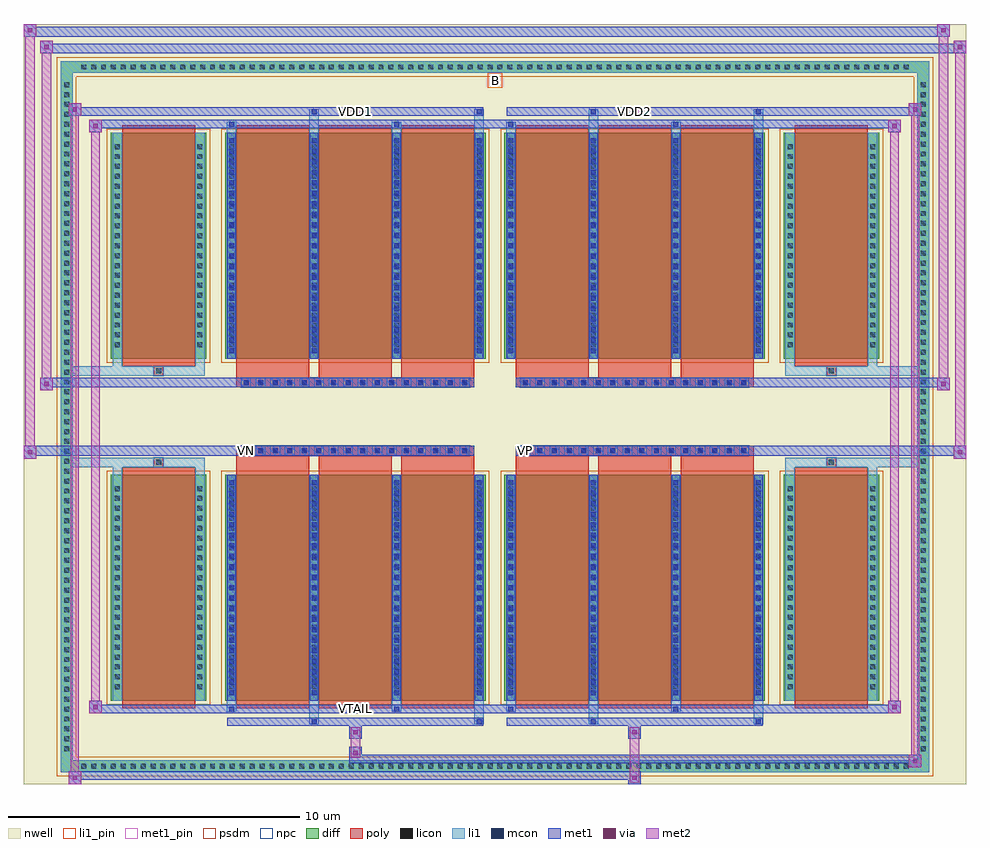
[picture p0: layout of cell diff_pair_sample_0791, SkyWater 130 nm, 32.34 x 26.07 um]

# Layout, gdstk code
import gdstk
lib = gdstk.Library(unit=1e-6, precision=5e-09)
def R(c, l, rs):  # rectangles x0, y0, x1, y1
    for r in rs: c.add(gdstk.rectangle(r[:2], r[2:], *l))
def A(c, l, x, y, w, h, nx, ny, dx, dy):  # array of equal rectangles
    R(c, l, [(x+i*dx, y+j*dy, x+i*dx+w, y+j*dy+h) for i in range(nx) for j in range(ny)])
def P(c, l, *ps):  # polygons
    for p in ps: c.add(gdstk.Polygon(p, *l))
nwell = (64, 20)
diff = (65, 20)
poly = (66, 20)
licon = (66, 44)
li1_pin = (67, 16)
li1 = (67, 20)
mcon = (67, 44)
met1_pin = (68, 16)
met1 = (68, 20)
via = (68, 44)
met2 = (69, 20)
psdm = (94, 20)
npc = (95, 20)

diff_pair_sample_0791 = lib.new_cell('diff_pair_sample_0791')
R(diff_pair_sample_0791, nwell, [(-16.17,-12.6,16.17,13.47), (-13.49,-10.79,-0.01,-0.805), (0.01,-10.79,13.49,-0.805), (-13.49,0.805,-0.01,10.79), (0.01,0.805,13.49,10.79)])
A(diff_pair_sample_0791, diff, -14.315, -12.2, 0.41, 0.41, 84, 2, 0.34, 23.99)
A(diff_pair_sample_0791, diff, -14.9, -11.595, 0.41, 0.41, 1, 68, 0, 0.34)
A(diff_pair_sample_0791, diff, 14.49, -11.595, 0.41, 0.41, 1, 68, 0, 0.34)
R(diff_pair_sample_0791, diff, [(-14.315,-12.2,14.315,-11.79), (-14.9,-11.595,-14.49,11.595), (14.49,-11.595,14.9,11.595), (-13.18,-9.745,-9.9,-1.985), (-9.26,-9.745,-0.32,-1.985), (0.32,-9.745,9.26,-1.985), (9.9,-9.745,13.18,-1.985), (-13.18,1.985,-9.9,9.745), (-9.26,1.985,-0.32,9.745), (0.32,1.985,9.26,9.745), (9.9,1.985,13.18,9.745), (-14.315,11.79,14.315,12.2)])
P(diff_pair_sample_0791, diff, [(14.9,12.2),(-14.9,12.2),(-14.9,-11.79),(-14.49,-11.79),(-14.49,11.79),(14.49,11.79),(14.49,-11.79),(-14.49,-11.79),(-14.9,-11.79),(-14.9,-12.2),(14.9,-12.2)])
A(diff_pair_sample_0791, poly, -8.87, -9.995, 2.5, 8.26, 3, 2, 2.83, 11.73)
A(diff_pair_sample_0791, poly, 0.71, -9.995, 2.5, 8.26, 3, 2, 2.83, 11.73)
A(diff_pair_sample_0791, poly, -8.87, -1.735, 2.5, 0.4, 3, 2, 2.83, 3.07)
A(diff_pair_sample_0791, poly, 0.71, -1.735, 2.5, 0.4, 3, 2, 2.83, 3.07)
A(diff_pair_sample_0791, poly, -8.705, -1.335, 0.33, 0.33, 16, 2, 0.5, 2.34)
A(diff_pair_sample_0791, poly, 0.875, -1.335, 0.33, 0.33, 16, 2, 0.5, 2.34)
R(diff_pair_sample_0791, poly, [(-12.79,-9.995,-10.29,-1.735), (10.29,-9.995,12.79,-1.735), (-11.705,-1.735,-11.375,-1.405), (-11.705,-1.735,-11.375,-1.405), (11.375,-1.735,11.705,-1.405), (11.375,-1.735,11.705,-1.405), (-8.87,-1.335,-0.71,-1.005), (0.71,-1.335,8.87,-1.005), (-8.87,1.005,-0.71,1.335), (0.71,1.005,8.87,1.335), (-11.705,1.405,-11.375,1.735), (-11.705,1.405,-11.375,1.735), (11.375,1.405,11.705,1.735), (11.375,1.405,11.705,1.735), (-12.79,1.735,-10.29,9.995), (10.29,1.735,12.79,9.995)])
A(diff_pair_sample_0791, licon, -14.195, -12.08, 0.17, 0.17, 84, 2, 0.34, 23.99)
A(diff_pair_sample_0791, licon, -14.78, -11.475, 0.17, 0.17, 1, 68, 0, 0.34)
A(diff_pair_sample_0791, licon, 14.61, -11.475, 0.17, 0.17, 1, 68, 0, 0.34)
A(diff_pair_sample_0791, licon, -13.04, -9.35, 0.17, 0.17, 1, 21, 0, 0.34)
A(diff_pair_sample_0791, licon, -10.21, -9.35, 0.17, 0.17, 1, 21, 0, 0.34)
A(diff_pair_sample_0791, licon, -9.12, -9.35, 0.17, 0.17, 4, 21, 2.83, 0.34)
A(diff_pair_sample_0791, licon, 0.46, -9.35, 0.17, 0.17, 4, 21, 2.83, 0.34)
A(diff_pair_sample_0791, licon, 10.04, -9.35, 0.17, 0.17, 1, 21, 0, 0.34)
A(diff_pair_sample_0791, licon, 12.87, -9.35, 0.17, 0.17, 1, 21, 0, 0.34)
A(diff_pair_sample_0791, licon, -8.625, -1.255, 0.17, 0.17, 16, 2, 0.5, 2.34)
A(diff_pair_sample_0791, licon, 0.955, -1.255, 0.17, 0.17, 16, 2, 0.5, 2.34)
A(diff_pair_sample_0791, licon, -13.04, 2.38, 0.17, 0.17, 1, 21, 0, 0.34)
A(diff_pair_sample_0791, licon, -10.21, 2.38, 0.17, 0.17, 1, 21, 0, 0.34)
A(diff_pair_sample_0791, licon, -9.12, 2.38, 0.17, 0.17, 4, 21, 2.83, 0.34)
A(diff_pair_sample_0791, licon, 0.46, 2.38, 0.17, 0.17, 4, 21, 2.83, 0.34)
A(diff_pair_sample_0791, licon, 10.04, 2.38, 0.17, 0.17, 1, 21, 0, 0.34)
A(diff_pair_sample_0791, licon, 12.87, 2.38, 0.17, 0.17, 1, 21, 0, 0.34)
R(diff_pair_sample_0791, licon, [(-11.625,-1.655,-11.455,-1.485), (11.455,-1.655,11.625,-1.485), (-11.625,1.485,-11.455,1.655), (11.455,1.485,11.625,1.655)])
R(diff_pair_sample_0791, li1_pin, [(-0.25,11.29,0.25,11.79)])
A(diff_pair_sample_0791, li1, -14.275, -12.16, 0.33, 0.33, 84, 2, 0.34, 23.99)
A(diff_pair_sample_0791, li1, -14.86, -11.555, 0.33, 0.33, 1, 68, 0, 0.34)
A(diff_pair_sample_0791, li1, 14.53, -11.555, 0.33, 0.33, 1, 68, 0, 0.34)
A(diff_pair_sample_0791, li1, -9.2, -9.745, 0.33, 7.76, 4, 2, 2.83, 11.73)
A(diff_pair_sample_0791, li1, 0.38, -9.745, 0.33, 7.76, 4, 2, 2.83, 11.73)
A(diff_pair_sample_0791, li1, -9.12, -9.55, 0.17, 0.17, 4, 21, 2.83, 0.36)
A(diff_pair_sample_0791, li1, -9.12, -9.55, 0.17, 7.37, 4, 2, 2.83, 11.73)
A(diff_pair_sample_0791, li1, 0.46, -9.55, 0.17, 0.17, 4, 21, 2.83, 0.36)
A(diff_pair_sample_0791, li1, 0.46, -9.55, 0.17, 7.37, 4, 2, 2.83, 11.73)
A(diff_pair_sample_0791, li1, -13.12, -9.43, 0.33, 0.33, 1, 21, 0, 0.34)
A(diff_pair_sample_0791, li1, -10.29, -9.43, 0.33, 0.33, 1, 21, 0, 0.34)
A(diff_pair_sample_0791, li1, -9.2, -9.43, 0.33, 0.33, 4, 21, 2.83, 0.34)
A(diff_pair_sample_0791, li1, 0.38, -9.43, 0.33, 0.33, 4, 21, 2.83, 0.34)
A(diff_pair_sample_0791, li1, 9.96, -9.43, 0.33, 0.33, 1, 21, 0, 0.34)
A(diff_pair_sample_0791, li1, 12.79, -9.43, 0.33, 0.33, 1, 21, 0, 0.34)
A(diff_pair_sample_0791, li1, -8.705, -1.335, 0.33, 0.33, 16, 2, 0.5, 2.34)
A(diff_pair_sample_0791, li1, 0.875, -1.335, 0.33, 0.33, 16, 2, 0.5, 2.34)
A(diff_pair_sample_0791, li1, -9.12, 2.18, 0.17, 0.17, 4, 21, 2.83, 0.36)
A(diff_pair_sample_0791, li1, 0.46, 2.18, 0.17, 0.17, 4, 21, 2.83, 0.36)
A(diff_pair_sample_0791, li1, -13.12, 2.3, 0.33, 0.33, 1, 21, 0, 0.34)
A(diff_pair_sample_0791, li1, -10.29, 2.3, 0.33, 0.33, 1, 21, 0, 0.34)
A(diff_pair_sample_0791, li1, -9.2, 2.3, 0.33, 0.33, 4, 21, 2.83, 0.34)
A(diff_pair_sample_0791, li1, 0.38, 2.3, 0.33, 0.33, 4, 21, 2.83, 0.34)
A(diff_pair_sample_0791, li1, 9.96, 2.3, 0.33, 0.33, 1, 21, 0, 0.34)
A(diff_pair_sample_0791, li1, 12.79, 2.3, 0.33, 0.33, 1, 21, 0, 0.34)
R(diff_pair_sample_0791, li1, [(-14.9,-12.2,-14.49,-11.79), (-14.9,-12.2,-14.49,-11.79), (-14.49,-12.2,14.49,-11.79), (14.49,-12.2,14.9,-11.79), (14.49,-12.2,14.9,-11.79), (-14.9,-11.79,-14.49,11.79), (14.49,-11.79,14.9,11.79), (-6.37,-10.55,-6.04,-9.745), (-6.29,-10.55,-6.12,-10.38), (-0.71,-10.55,-0.38,-9.745), (-0.63,-10.55,-0.46,-10.38), (3.21,-10.55,3.54,-9.745), (3.29,-10.55,3.46,-10.38), (8.87,-10.55,9.2,-9.745), (8.95,-10.55,9.12,-10.38), (-9.2,-10.12,-8.87,-9.745), (-9.12,-10.12,-8.95,-9.95), (-3.54,-10.12,-3.21,-9.745), (-3.46,-10.12,-3.29,-9.95), (0.38,-10.12,0.71,-9.745), (0.46,-10.12,0.63,-9.95), (6.04,-10.12,6.37,-9.745), (6.12,-10.12,6.29,-9.95), (-13.12,-9.745,-12.79,-1.985), (-10.29,-9.745,-9.96,-1.985), (9.96,-9.745,10.29,-1.985), (12.79,-9.745,13.12,-1.985), (-13.12,-1.985,-12.79,-1.405), (-10.29,-1.985,-9.96,-1.405), (9.96,-1.985,10.29,-1.405), (12.79,-1.985,13.12,-1.405), (-14.9,-1.735,-11.705,-1.405), (-13.12,-1.735,-11.705,-1.405), (-11.705,-1.735,-11.375,-1.405), (-11.375,-1.735,-9.96,-1.405), (9.96,-1.735,11.375,-1.405), (11.375,-1.735,11.705,-1.405), (11.375,-1.735,14.9,-1.405), (11.705,-1.735,13.12,-1.405), (-14.9,1.405,-11.705,1.735), (-13.12,1.405,-11.705,1.735), (-13.12,1.405,-12.79,1.985), (-11.705,1.405,-11.375,1.735), (-11.375,1.405,-9.96,1.735), (-10.29,1.405,-9.96,1.985), (9.96,1.405,11.375,1.735), (9.96,1.405,10.29,1.985), (11.375,1.405,11.705,1.735), (11.375,1.405,14.9,1.735), (11.705,1.405,13.12,1.735), (12.79,1.405,13.12,1.985), (-13.12,1.985,-12.79,9.745), (-10.29,1.985,-9.96,9.745), (9.96,1.985,10.29,9.745), (12.79,1.985,13.12,9.745), (-9.2,9.745,-8.87,10.12), (-6.37,9.745,-6.04,10.55), (-3.54,9.745,-3.21,10.12), (-0.71,9.745,-0.38,10.55), (0.38,9.745,0.71,10.12), (3.21,9.745,3.54,10.55), (6.04,9.745,6.37,10.12), (8.87,9.745,9.2,10.55), (-9.12,9.95,-8.95,10.12), (-3.46,9.95,-3.29,10.12), (0.46,9.95,0.63,10.12), (6.12,9.95,6.29,10.12), (-6.29,10.38,-6.12,10.55), (-0.63,10.38,-0.46,10.55), (3.29,10.38,3.46,10.55), (8.95,10.38,9.12,10.55), (-14.9,11.79,-14.49,12.2), (-14.9,11.79,-14.49,12.2), (-14.49,11.79,14.49,12.2), (14.49,11.79,14.9,12.2), (14.49,11.79,14.9,12.2)])
A(diff_pair_sample_0791, mcon, -9.12, -9.55, 0.17, 0.17, 4, 21, 2.83, 0.36)
A(diff_pair_sample_0791, mcon, 0.46, -9.55, 0.17, 0.17, 4, 21, 2.83, 0.36)
A(diff_pair_sample_0791, mcon, -8.625, -1.255, 0.17, 0.17, 16, 2, 0.5, 2.34)
A(diff_pair_sample_0791, mcon, 0.955, -1.255, 0.17, 0.17, 16, 2, 0.5, 2.34)
A(diff_pair_sample_0791, mcon, -9.12, 2.18, 0.17, 0.17, 4, 21, 2.83, 0.36)
A(diff_pair_sample_0791, mcon, 0.46, 2.18, 0.17, 0.17, 4, 21, 2.83, 0.36)
R(diff_pair_sample_0791, mcon, [(-6.29,-10.55,-6.12,-10.38), (-0.63,-10.55,-0.46,-10.38), (3.29,-10.55,3.46,-10.38), (8.95,-10.55,9.12,-10.38), (-9.12,-10.12,-8.95,-9.95), (-3.46,-10.12,-3.29,-9.95), (0.46,-10.12,0.63,-9.95), (6.12,-10.12,6.29,-9.95), (-9.12,9.95,-8.95,10.12), (-3.46,9.95,-3.29,10.12), (0.46,9.95,0.63,10.12), (6.12,9.95,6.29,10.12), (-6.29,10.38,-6.12,10.55), (-0.63,10.38,-0.46,10.55), (3.29,10.38,3.46,10.55), (8.95,10.38,9.12,10.55)])
R(diff_pair_sample_0791, met1_pin, [(-4.925,-10.16,-4.655,-9.89), (-8.675,-1.295,-8.405,-1.025), (0.905,-1.295,1.175,-1.025), (-4.925,10.34,-4.655,10.61), (4.655,10.34,4.925,10.61)])
A(diff_pair_sample_0791, met1, -9.18, -9.745, 0.29, 7.76, 4, 2, 2.83, 11.73)
A(diff_pair_sample_0791, met1, 0.4, -9.745, 0.29, 7.76, 4, 2, 2.83, 11.73)
A(diff_pair_sample_0791, met1, -9.18, -9.61, 0.29, 0.29, 4, 21, 2.83, 0.36)
A(diff_pair_sample_0791, met1, 0.4, -9.61, 0.29, 0.29, 4, 21, 2.83, 0.36)
A(diff_pair_sample_0791, met1, -8.685, -1.315, 0.29, 0.29, 16, 2, 0.5, 2.34)
A(diff_pair_sample_0791, met1, 0.895, -1.315, 0.29, 0.29, 16, 2, 0.5, 2.34)
A(diff_pair_sample_0791, met1, -9.18, 2.12, 0.29, 0.29, 4, 21, 2.83, 0.36)
A(diff_pair_sample_0791, met1, 0.4, 2.12, 0.29, 0.29, 4, 21, 2.83, 0.36)
R(diff_pair_sample_0791, met1, [(-14.63,-12.6,-14.2,-12.17), (4.575,-12.6,5.005,-12.17), (-14.63,-12.46,5.005,-12.17), (14.2,-12.03,14.63,-11.6), (-5.005,-11.89,14.63,-11.6), (-5.005,-11.75,-4.575,-11.32), (-5.005,-11.04,-4.575,-10.61), (4.575,-11.04,5.005,-10.61), (-9.18,-10.61,-0.4,-10.32), (-6.35,-10.61,-6.06,-10.32), (-0.69,-10.61,-0.4,-10.32), (0.4,-10.61,9.18,-10.32), (3.23,-10.61,3.52,-10.32), (8.89,-10.61,9.18,-10.32), (-13.92,-10.18,-13.49,-9.75), (-13.92,-10.18,-9.18,-9.89), (-9.18,-10.18,-8.89,-9.89), (-9.18,-10.18,-0.4,-9.89), (-3.52,-10.18,-3.23,-9.89), (-0.4,-10.18,0.4,-9.89), (0.4,-10.18,0.69,-9.89), (0.4,-10.18,9.18,-9.89), (6.06,-10.18,6.35,-9.89), (9.18,-10.18,13.92,-9.89), (13.49,-10.18,13.92,-9.75), (-16.17,-1.435,-15.74,-1.005), (15.74,-1.435,16.17,-1.005), (-16.17,-1.335,-0.71,-1.005), (-8.87,-1.335,-0.71,-1.005), (0.71,-1.335,8.87,-1.005), (0.71,-1.335,16.17,-1.005), (-15.6,0.905,-15.17,1.335), (15.17,0.905,15.6,1.335), (-15.6,1.005,-8.87,1.335), (-8.87,1.005,-0.71,1.335), (0.71,1.005,8.87,1.335), (8.87,1.005,15.6,1.335), (-13.92,9.75,-13.49,10.18), (13.49,9.75,13.92,10.18), (-13.92,9.89,-9.18,10.18), (-9.18,9.89,-8.89,10.18), (-9.18,9.89,-0.4,10.18), (-3.52,9.89,-3.23,10.18), (-0.4,9.89,0.4,10.18), (0.4,9.89,0.69,10.18), (0.4,9.89,9.18,10.18), (6.06,9.89,6.35,10.18), (9.18,9.89,13.92,10.18), (-14.63,10.32,-14.2,10.75), (-14.63,10.32,-9.18,10.61), (-9.18,10.32,-0.4,10.61), (-6.35,10.32,-6.06,10.61), (-0.69,10.32,-0.4,10.61), (0.4,10.32,9.18,10.61), (3.23,10.32,3.52,10.61), (8.89,10.32,9.18,10.61), (9.18,10.32,14.63,10.61), (14.2,10.32,14.63,10.75), (-15.6,12.47,-15.17,12.9), (-15.6,12.47,-13.49,12.8), (-13.49,12.47,13.49,12.8), (13.49,12.47,16.17,12.8), (15.74,12.47,16.17,12.9), (-16.17,13.04,-15.74,13.47), (-16.17,13.04,-13.49,13.37), (-13.49,13.04,13.49,13.37), (13.49,13.04,15.6,13.37), (15.17,13.04,15.6,13.47)])
R(diff_pair_sample_0791, via, [(-14.49,-12.46,-14.34,-12.31), (4.715,-12.46,4.865,-12.31), (14.34,-11.89,14.49,-11.74), (-4.865,-11.61,-4.715,-11.46), (-4.865,-10.9,-4.715,-10.75), (4.715,-10.9,4.865,-10.75), (-13.78,-10.04,-13.63,-9.89), (13.63,-10.04,13.78,-9.89), (-16.03,-1.295,-15.88,-1.145), (15.88,-1.295,16.03,-1.145), (-15.46,1.045,-15.31,1.195), (15.31,1.045,15.46,1.195), (-13.78,9.89,-13.63,10.04), (13.63,9.89,13.78,10.04), (-14.49,10.46,-14.34,10.61), (14.34,10.46,14.49,10.61), (-15.46,12.61,-15.31,12.76), (15.88,12.61,16.03,12.76), (-16.03,13.18,-15.88,13.33), (15.31,13.18,15.46,13.33)])
R(diff_pair_sample_0791, met2, [(-14.63,-12.6,-14.2,-12.17), (-14.56,-12.6,-14.27,10.75), (-14.27,-12.6,-14.2,-12.17), (-14.58,-12.55,-14.25,-12.22), (4.625,-12.55,4.955,-12.22), (4.625,-12.22,4.955,-10.99), (14.2,-12.03,14.63,-11.6), (14.27,-12.03,14.56,10.75), (14.56,-12.03,14.63,-11.6), (14.25,-11.98,14.58,-11.65), (-4.955,-11.7,-4.625,-11.37), (-4.955,-11.37,-4.625,-10.99), (-4.955,-10.99,-4.625,-10.66), (4.625,-10.99,4.955,-10.66), (-13.92,-10.18,-13.49,-9.75), (-13.85,-10.18,-13.56,10.18), (-13.56,-10.18,-13.49,-9.75), (13.49,-10.18,13.92,-9.75), (13.56,-10.18,13.85,10.18), (13.85,-10.18,13.92,-9.75), (-13.87,-10.13,-13.54,-9.8), (13.54,-10.13,13.87,-9.8), (-16.17,-1.435,-15.74,-1.005), (-16.12,-1.435,-15.79,13.47), (-15.79,-1.435,-15.74,-1.005), (15.74,-1.435,16.17,-1.005), (15.79,-1.435,16.12,12.9), (16.12,-1.435,16.17,-1.005), (-16.12,-1.385,-15.79,-1.055), (15.79,-1.385,16.12,-1.055), (-15.6,0.905,-15.17,1.335), (-15.55,0.905,-15.22,12.9), (-15.22,0.905,-15.17,1.335), (15.17,0.905,15.6,1.335), (15.22,0.905,15.55,13.47), (15.55,0.905,15.6,1.335), (-15.55,0.955,-15.22,1.285), (15.22,0.955,15.55,1.285), (-13.92,9.75,-13.49,10.18), (-13.56,9.75,-13.49,10.18), (13.49,9.75,13.92,10.18), (13.85,9.75,13.92,10.18), (-13.87,9.8,-13.54,10.13), (13.54,9.8,13.87,10.13), (-14.63,10.32,-14.2,10.75), (-14.27,10.32,-14.2,10.75), (14.2,10.32,14.63,10.75), (14.56,10.32,14.63,10.75), (-14.58,10.37,-14.25,10.7), (14.25,10.37,14.58,10.7), (-15.6,12.47,-15.17,12.9), (-15.22,12.47,-15.17,12.9), (15.74,12.47,16.17,12.9), (16.12,12.47,16.17,12.9), (-15.55,12.52,-15.22,12.85), (15.79,12.52,16.12,12.85), (-16.17,13.04,-15.74,13.47), (-15.79,13.04,-15.74,13.47), (15.17,13.04,15.6,13.47), (15.55,13.04,15.6,13.47), (-16.12,13.09,-15.79,13.42), (15.22,13.09,15.55,13.42)])
R(diff_pair_sample_0791, psdm, [(-13.31,-9.875,-9.77,-1.855), (-9.39,-9.875,-0.19,-1.855), (0.19,-9.875,9.39,-1.855), (9.77,-9.875,13.31,-1.855), (-13.31,1.855,-9.77,9.875), (-9.39,1.855,-0.19,9.875), (0.19,1.855,9.39,9.875), (9.77,1.855,13.31,9.875)])
P(diff_pair_sample_0791, psdm, [(15.03,12.33),(-15.03,12.33),(-15.03,-11.66),(-14.36,-11.66),(-14.36,11.66),(14.36,11.66),(14.36,-11.66),(-14.36,-11.66),(-15.03,-11.66),(-15.03,-12.33),(15.03,-12.33)])
A(diff_pair_sample_0791, npc, -8.725, -1.355, 0.37, 0.37, 16, 2, 0.5, 2.34)
A(diff_pair_sample_0791, npc, 0.855, -1.355, 0.37, 0.37, 16, 2, 0.5, 2.34)
R(diff_pair_sample_0791, npc, [(-11.725,-1.755,-11.355,-1.385), (11.355,-1.755,11.725,-1.385), (-8.725,-1.355,-7.855,-0.985), (-8.725,-1.355,-7.855,-0.985), (-8.225,-1.355,-7.355,-0.985), (-8.225,-1.355,-7.355,-0.985), (-7.725,-1.355,-6.855,-0.985), (-7.725,-1.355,-6.855,-0.985), (-7.225,-1.355,-6.355,-0.985), (-7.225,-1.355,-6.355,-0.985), (-6.725,-1.355,-5.855,-0.985), (-6.725,-1.355,-5.855,-0.985), (-6.225,-1.355,-5.355,-0.985), (-6.225,-1.355,-5.355,-0.985), (-5.725,-1.355,-4.855,-0.985), (-5.725,-1.355,-4.855,-0.985), (-5.225,-1.355,-4.355,-0.985), (-5.225,-1.355,-4.355,-0.985), (-4.725,-1.355,-3.855,-0.985), (-4.725,-1.355,-3.855,-0.985), (-4.225,-1.355,-3.355,-0.985), (-4.225,-1.355,-3.355,-0.985), (-3.725,-1.355,-2.855,-0.985), (-3.725,-1.355,-2.855,-0.985), (-3.225,-1.355,-2.355,-0.985), (-3.225,-1.355,-2.355,-0.985), (-2.725,-1.355,-1.855,-0.985), (-2.725,-1.355,-1.855,-0.985), (-2.225,-1.355,-1.355,-0.985), (-2.225,-1.355,-1.355,-0.985), (-1.725,-1.355,-0.855,-0.985), (-1.725,-1.355,-0.855,-0.985), (0.855,-1.355,1.725,-0.985), (0.855,-1.355,1.725,-0.985), (1.355,-1.355,2.225,-0.985), (1.355,-1.355,2.225,-0.985), (1.855,-1.355,2.725,-0.985), (1.855,-1.355,2.725,-0.985), (2.355,-1.355,3.225,-0.985), (2.355,-1.355,3.225,-0.985), (2.855,-1.355,3.725,-0.985), (2.855,-1.355,3.725,-0.985), (3.355,-1.355,4.225,-0.985), (3.355,-1.355,4.225,-0.985), (3.855,-1.355,4.725,-0.985), (3.855,-1.355,4.725,-0.985), (4.355,-1.355,5.225,-0.985), (4.355,-1.355,5.225,-0.985), (4.855,-1.355,5.725,-0.985), (4.855,-1.355,5.725,-0.985), (5.355,-1.355,6.225,-0.985), (5.355,-1.355,6.225,-0.985), (5.855,-1.355,6.725,-0.985), (5.855,-1.355,6.725,-0.985), (6.355,-1.355,7.225,-0.985), (6.355,-1.355,7.225,-0.985), (6.855,-1.355,7.725,-0.985), (6.855,-1.355,7.725,-0.985), (7.355,-1.355,8.225,-0.985), (7.355,-1.355,8.225,-0.985), (7.855,-1.355,8.725,-0.985), (7.855,-1.355,8.725,-0.985), (-8.725,0.985,-7.855,1.355), (-8.725,0.985,-7.855,1.355), (-8.225,0.985,-7.355,1.355), (-8.225,0.985,-7.355,1.355), (-7.725,0.985,-6.855,1.355), (-7.725,0.985,-6.855,1.355), (-7.225,0.985,-6.355,1.355), (-7.225,0.985,-6.355,1.355), (-6.725,0.985,-5.855,1.355), (-6.725,0.985,-5.855,1.355), (-6.225,0.985,-5.355,1.355), (-6.225,0.985,-5.355,1.355), (-5.725,0.985,-4.855,1.355), (-5.725,0.985,-4.855,1.355), (-5.225,0.985,-4.355,1.355), (-5.225,0.985,-4.355,1.355), (-4.725,0.985,-3.855,1.355), (-4.725,0.985,-3.855,1.355), (-4.225,0.985,-3.355,1.355), (-4.225,0.985,-3.355,1.355), (-3.725,0.985,-2.855,1.355), (-3.725,0.985,-2.855,1.355), (-3.225,0.985,-2.355,1.355), (-3.225,0.985,-2.355,1.355), (-2.725,0.985,-1.855,1.355), (-2.725,0.985,-1.855,1.355), (-2.225,0.985,-1.355,1.355), (-2.225,0.985,-1.355,1.355), (-1.725,0.985,-0.855,1.355), (-1.725,0.985,-0.855,1.355), (0.855,0.985,1.725,1.355), (0.855,0.985,1.725,1.355), (1.355,0.985,2.225,1.355), (1.355,0.985,2.225,1.355), (1.855,0.985,2.725,1.355), (1.855,0.985,2.725,1.355), (2.355,0.985,3.225,1.355), (2.355,0.985,3.225,1.355), (2.855,0.985,3.725,1.355), (2.855,0.985,3.725,1.355), (3.355,0.985,4.225,1.355), (3.355,0.985,4.225,1.355), (3.855,0.985,4.725,1.355), (3.855,0.985,4.725,1.355), (4.355,0.985,5.225,1.355), (4.355,0.985,5.225,1.355), (4.855,0.985,5.725,1.355), (4.855,0.985,5.725,1.355), (5.355,0.985,6.225,1.355), (5.355,0.985,6.225,1.355), (5.855,0.985,6.725,1.355), (5.855,0.985,6.725,1.355), (6.355,0.985,7.225,1.355), (6.355,0.985,7.225,1.355), (6.855,0.985,7.725,1.355), (6.855,0.985,7.725,1.355), (7.355,0.985,8.225,1.355), (7.355,0.985,8.225,1.355), (7.855,0.985,8.725,1.355), (7.855,0.985,8.725,1.355), (-11.725,1.385,-11.355,1.755), (11.355,1.385,11.725,1.755)])
diff_pair_sample_0791.add(gdstk.Label('VTAIL', (-4.79,-10.025), layer=68, texttype=5))
diff_pair_sample_0791.add(gdstk.Label('VN', (-8.54,-1.16), layer=68, texttype=5))
diff_pair_sample_0791.add(gdstk.Label('VP', (1.04,-1.16), layer=68, texttype=5))
diff_pair_sample_0791.add(gdstk.Label('B', (0,11.54), layer=67, texttype=5))
diff_pair_sample_0791.add(gdstk.Label('VDD2', (4.79,10.475), layer=68, texttype=5))
diff_pair_sample_0791.add(gdstk.Label('VDD1', (-4.79,10.475), layer=68, texttype=5))

lib.write_gds('diff_pair_sample_0791.gds')
